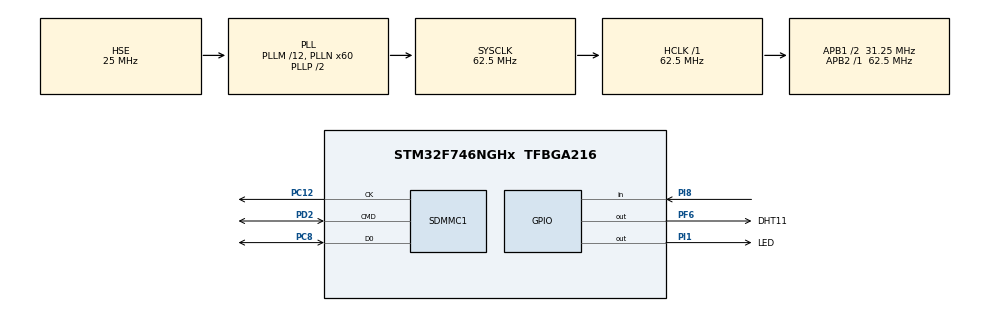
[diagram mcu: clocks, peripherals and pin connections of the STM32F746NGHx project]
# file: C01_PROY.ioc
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FATFS.BSP.number=1
FATFS._FS_EXFAT=1
FATFS._MAX_LFN=15
FATFS._MAX_SS=4096
FATFS._USE_LFN=1
FATFS0.BSP.STBoard=false
FATFS0.BSP.api=Unknown
FATFS0.BSP.i2caddr=0
FATFS0.BSP.instance=PI8
FATFS0.BSP.ip=GPIO
FATFS0.BSP.mode=Input
FATFS0.BSP.name=Detect_SDIO
FATFS0.BSP.solution=PI8
Mcu.Family=STM32F7
Mcu.Name=STM32F746NGHx
Mcu.Package=TFBGA216
NVIC.PriorityGroup=NVIC_PRIORITYGROUP_4
NVIC.RTC_Alarm_IRQn=true\:0\:0\:false\:false\:true\:true\:true
NVIC.SDMMC1_IRQn=true\:0\:0\:false\:false\:true\:true\:true
PC12.Mode=SD_1_bit
PC12.Signal=SDMMC1_CK
PC8.Mode=SD_1_bit
PC8.Signal=SDMMC1_D0
PD2.Mode=SD_1_bit
PD2.Signal=SDMMC1_CMD
PF6.GPIO_Label=DHT11
PF6.Signal=GPIO_Output
PH0/OSC_IN.Mode=HSE-External-Oscillator
PH0/OSC_IN.Signal=RCC_OSC_IN
PH1/OSC_OUT.Mode=HSE-External-Oscillator
PH1/OSC_OUT.Signal=RCC_OSC_OUT
PI1.GPIO_Label=LED
PI1.Signal=GPIO_Output
PI8.Signal=GPIO_Input
ProjectManager.HeapSize=0x200
ProjectManager.StackSize=0x400
ProjectManager.TargetToolchain=STM32CubeIDE
RCC.AHBFreq_Value=62500000
RCC.APB1CLKDivider=RCC_HCLK_DIV2
RCC.APB1Freq_Value=31250000
RCC.APB1TimFreq_Value=62500000
RCC.APB2Freq_Value=62500000
RCC.APB2TimFreq_Value=62500000
RCC.CortexFreq_Value=62500000
RCC.HCLKFreq_Value=62500000
RCC.HSE_VALUE=25000000
RCC.HSI_VALUE=16000000
RCC.LSE_VALUE=32768
RCC.PLLM=12
RCC.PLLN=60
RCC.PLLQ=5
RCC.PLLSourceVirtual=RCC_PLLSOURCE_HSE
RCC.SDMMCClockSelection=RCC_SDMMC1CLKSOURCE_CLK48
RCC.SYSCLKFreq_VALUE=62500000
RCC.SYSCLKSource=RCC_SYSCLKSOURCE_PLLCLK
RCC.USBFreq_Value=25000000
RCC.VCOOutputFreq_Value=125000000
RTC.Alarm-Alarm\ A=RTC_ALARM_A
RTC.AlarmMaskDateWeekDay-Alarm\ A=RTC_ALARMMASK_DATEWEEKDAY
RTC.AlarmMaskHours-Alarm\ A=RTC_ALARMMASK_HOURS
RTC.AlarmMaskMinutes-Alarm\ A=RTC_ALARMMASK_MINUTES
RTC.Format=RTC_FORMAT_BIN
VP_FATFS_VS_SDIO.Mode=SDIO
VP_RTC_VS_RTC_Activate.Mode=RTC_Enabled
VP_RTC_VS_RTC_Alarm_A_Intern.Mode=Alarm A
VP_RTC_VS_RTC_Calendar.Mode=RTC_Calendar
board=STM32F746G-DISCO

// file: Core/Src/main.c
/* USER CODE BEGIN Header */
/**
 ******************************************************************************
 * @file           : main.c
 * @brief          : Main program body
 ******************************************************************************
 * @attention
 *
 * <h2><center>&copy; Copyright (c) 2020 STMicroelectronics.
 * All rights reserved.</center></h2>
 *
 * This software component is licensed by ST under BSD 3-Clause license,
 * the "License"; You may not use this file except in compliance with the
 * License. You may obtain a copy of the License at:
 *                        opensource.org/licenses/BSD-3-Clause
 *
 ******************************************************************************
 */
/* USER CODE END Header */

#include "main.h"
#include "fatfs.h"

/* USER CODE BEGIN Includes */
#include "stdio.h"
/* USER CODE END Includes */

RTC_HandleTypeDef hrtc;

SD_HandleTypeDef hsd1;

void SystemClock_Config(void);
static void MX_GPIO_Init(void);
static void MX_RTC_Init(void);
static void MX_SDMMC1_SD_Init(void);

/* USER CODE BEGIN 0 */

typedef struct {
	uint8_t integralHumidity;
	uint8_t decimalHumidity;
	uint8_t integralTemp;
	uint8_t decimalTemp;
} ClimateEvent;

ClimateEvent climateEvent = { 0 };

RTC_TimeTypeDef time = { 0 };
RTC_DateTypeDef date = { 0 };

FRESULT fRes; /* FatFs function common result code */
FATFS SDFatFS; /* File system object for SD card logical drive */
FIL MyFile; /* File object */
char SDPath[4]; /* SD card logical drive path */
char filename[15]; /* YYYYMMDDHH.CSV */
uint8_t writeBuffer[50];
UINT byteswritten; /* File write counts */

uint8_t persistEvent; /* Flag to indicate that the event should be persisted */

void HAL_RTC_AlarmAEventCallback(RTC_HandleTypeDef *hrtc) {
	HAL_RTC_GetTime(hrtc, &time, RTC_FORMAT_BIN);
	HAL_RTC_GetDate(hrtc, &date, RTC_FORMAT_BIN);

	persistEvent = 1;
}

// DHT11 Code

GPIO_InitTypeDef GPIO_DHT11_InitStruct = { 0 };

void setDHT11Mode(uint32_t mode) {
	GPIO_DHT11_InitStruct.Pin = DHT11_Pin;
	GPIO_DHT11_InitStruct.Mode = mode;
	GPIO_DHT11_InitStruct.Pull = GPIO_NOPULL;
	GPIO_DHT11_InitStruct.Speed = GPIO_SPEED_FREQ_LOW;
	HAL_GPIO_Init(DHT11_GPIO_Port, &GPIO_DHT11_InitStruct);
}

void setDHT11ToOutputMode() {
	setDHT11Mode(GPIO_MODE_OUTPUT_PP);
}

void setDHT11ToInputMode() {
	setDHT11Mode(GPIO_MODE_INPUT);
}

void setDHT11Pin(GPIO_PinState pinState) {
	HAL_GPIO_WritePin(DHT11_GPIO_Port, DHT11_Pin, pinState);
}

GPIO_PinState getDHT11Pin() {
	return HAL_GPIO_ReadPin(DHT11_GPIO_Port, DHT11_Pin);
}

uint32_t waitForDHT11PullUp() {
	uint32_t downCycles = 0;
	if (getDHT11Pin() == 1) {
		while (getDHT11Pin() == 1) { // wait until down first
		}
	}
	while (getDHT11Pin() == 0) { // wait for pull up
		downCycles++;
	}
	return downCycles;
}

uint32_t waitForDHT11PullDown() {
	uint32_t upCycles = 0;
	if (getDHT11Pin() == 0) {
		while (getDHT11Pin() == 0) { // wait until up first
		}
	}
	while (getDHT11Pin() == 1) { // wait for pull down
		upCycles++;
	}
	return upCycles;
}

uint8_t readData(uint32_t thresholdCycles) {
	uint8_t i, j;
	for (j = 0; j < 8; j++) {
		waitForDHT11PullUp();
		uint32_t upCycles = waitForDHT11PullDown();
		if (upCycles > thresholdCycles) {
			i |= (1 << (7 - j));	// bit is 1
		} else {
			i &= ~(1 << (7 - j));  // bit is 0
		}
	}
	return i;
}

uint8_t getClimate() {
	uint8_t integralHumidityData;
	uint8_t decimalHumidityData;
	uint8_t integralTempData;
	uint8_t decimalTempData;
	uint8_t checkSum;

	// initial state for DHT11
	setDHT11ToInputMode();
	HAL_Delay(1000); // to pass unstable status of the DHT11 sensor

	// start communication
	setDHT11ToOutputMode();
	setDHT11Pin(0);
	HAL_Delay(18);
	setDHT11Pin(1);

	// wait for DHT11 response
	setDHT11ToInputMode();
	waitForDHT11PullUp();
	uint32_t upCycles = waitForDHT11PullDown();

	// upCycles of last pull-down is equivalent to 80 microseconds
	// Use this to interpolate data transmission bit responses knowing that:
	//   - bit 0: 26-28 microseconds
	//   - bit 1: 70 microseconds
	//
	uint32_t thresholdCycles = (upCycles / 2) + (10 * upCycles / 80); // ~50 microseconds

	// start sensor data transmission
	integralHumidityData = readData(thresholdCycles);
	decimalHumidityData = readData(thresholdCycles);
	integralTempData = readData(thresholdCycles);
	decimalTempData = readData(thresholdCycles);
	checkSum = readData(thresholdCycles);

	uint8_t dataSum = integralHumidityData + decimalHumidityData
			+ integralTempData + decimalTempData;

	if (checkSum != dataSum) {
		return 0;
	}

	climateEvent.integralTemp = integralTempData;
	climateEvent.decimalTemp = decimalTempData;
	climateEvent.integralHumidity = integralHumidityData;
	climateEvent.decimalHumidity = decimalHumidityData;

	return 1;
}

// microSD code

void writeClimateEventToMicroSD() {
	// See hack in: BSP_PlatformIsDetected
	fRes = f_mount(&SDFatFS, (TCHAR const*) SDPath, 0);
	if (fRes != FR_OK) {
		Error_Handler();
	}

	sprintf(filename, "%04d%02d%02d%02d.CSV", 2000 + date.Year, date.Month,
			date.Date, time.Hours);

	fRes = f_open(&MyFile, filename, FA_OPEN_APPEND | FA_WRITE);
	if (fRes != FR_OK) {
		Error_Handler();
	}

	int length = sprintf((char*) writeBuffer,
			"%04d-%02d-%02dT%02d:%02d:%02d,%d.%d°C,%d.%d%%\n", 2000 + date.Year,
			date.Month, date.Date, time.Hours, time.Minutes, time.Seconds,
			climateEvent.integralTemp, climateEvent.decimalTemp,
			climateEvent.integralHumidity, climateEvent.decimalHumidity);

	f_write(&MyFile, writeBuffer, length, &byteswritten);

	f_close(&MyFile);

	f_mount(0, (TCHAR const*) SDPath, 0);
}

// main event handler

void doPersistClimateEvent() {
	HAL_GPIO_WritePin(LED_GPIO_Port, LED_Pin, 1);
	if (getClimate()) {
		writeClimateEventToMicroSD();
	}
	HAL_GPIO_WritePin(LED_GPIO_Port, LED_Pin, 0);
}

/* USER CODE END 0 */

int main(void) {

	/* MCU Configuration--------------------------------------------------------*/

	/* Reset of all peripherals, Initializes the Flash interface and the Systick. */
	HAL_Init();

	/* Configure the system clock */
	SystemClock_Config();

	/* Initialize all configured peripherals */
	MX_GPIO_Init();
	MX_RTC_Init();
	MX_SDMMC1_SD_Init();
	MX_FATFS_Init();

	/* Infinite loop */
	/* USER CODE BEGIN WHILE */
	while (1) {
		HAL_Delay(1000);

		if (persistEvent == 1) {
			persistEvent = 0;
			doPersistClimateEvent();
		}
		/* USER CODE END WHILE */

	}
}

void SystemClock_Config(void) {
	RCC_OscInitTypeDef RCC_OscInitStruct = { 0 };
	RCC_ClkInitTypeDef RCC_ClkInitStruct = { 0 };
	RCC_PeriphCLKInitTypeDef PeriphClkInitStruct = { 0 };

	/** Configure the main internal regulator output voltage
	 */
	__HAL_RCC_PWR_CLK_ENABLE();
	__HAL_PWR_VOLTAGESCALING_CONFIG(PWR_REGULATOR_VOLTAGE_SCALE3);
	/** Initializes the CPU, AHB and APB busses clocks
	 */
	RCC_OscInitStruct.OscillatorType = RCC_OSCILLATORTYPE_LSI
			| RCC_OSCILLATORTYPE_HSE;
	RCC_OscInitStruct.HSEState = RCC_HSE_ON;
	RCC_OscInitStruct.LSIState = RCC_LSI_ON;
	RCC_OscInitStruct.PLL.PLLState = RCC_PLL_ON;
	RCC_OscInitStruct.PLL.PLLSource = RCC_PLLSOURCE_HSE;
	RCC_OscInitStruct.PLL.PLLM = 12;
	RCC_OscInitStruct.PLL.PLLN = 60;
	RCC_OscInitStruct.PLL.PLLP = RCC_PLLP_DIV2;
	RCC_OscInitStruct.PLL.PLLQ = 5;
	if (HAL_RCC_OscConfig(&RCC_OscInitStruct) != HAL_OK) {
		Error_Handler();
	}
	/** Initializes the CPU, AHB and APB busses clocks
	 */
	RCC_ClkInitStruct.ClockType = RCC_CLOCKTYPE_HCLK | RCC_CLOCKTYPE_SYSCLK
			| RCC_CLOCKTYPE_PCLK1 | RCC_CLOCKTYPE_PCLK2;
	RCC_ClkInitStruct.SYSCLKSource = RCC_SYSCLKSOURCE_PLLCLK;
	RCC_ClkInitStruct.AHBCLKDivider = RCC_SYSCLK_DIV1;
	RCC_ClkInitStruct.APB1CLKDivider = RCC_HCLK_DIV2;
	RCC_ClkInitStruct.APB2CLKDivider = RCC_HCLK_DIV1;

	if (HAL_RCC_ClockConfig(&RCC_ClkInitStruct, FLASH_LATENCY_2) != HAL_OK) {
		Error_Handler();
	}
	PeriphClkInitStruct.PeriphClockSelection = RCC_PERIPHCLK_RTC
			| RCC_PERIPHCLK_SDMMC1 | RCC_PERIPHCLK_CLK48;
	PeriphClkInitStruct.RTCClockSelection = RCC_RTCCLKSOURCE_LSI;
	PeriphClkInitStruct.Clk48ClockSelection = RCC_CLK48SOURCE_PLL;
	PeriphClkInitStruct.Sdmmc1ClockSelection = RCC_SDMMC1CLKSOURCE_CLK48;
	if (HAL_RCCEx_PeriphCLKConfig(&PeriphClkInitStruct) != HAL_OK) {
		Error_Handler();
	}
}

static void MX_RTC_Init(void) {

	RTC_TimeTypeDef sTime = { 0 };
	RTC_DateTypeDef sDate = { 0 };
	RTC_AlarmTypeDef sAlarm = { 0 };

	/** Initialize RTC Only
	 */
	hrtc.Instance = RTC;
	hrtc.Init.HourFormat = RTC_HOURFORMAT_24;
	hrtc.Init.AsynchPrediv = 127;
	hrtc.Init.SynchPrediv = 255;
	if (HAL_RTC_Init(&hrtc) != HAL_OK) {
		Error_Handler();
	}

	/* USER CODE BEGIN Check_RTC_BKUP */

	if (HAL_RTCEx_BKUPRead(&hrtc, RTC_BKP_DR1) == 0x777) {
		// If clock has been already initialized, only set the alarm interrupt
		HAL_RTC_GetAlarm(&hrtc, &sAlarm, RTC_ALARM_A, RTC_FORMAT_BIN);
		if (HAL_RTC_SetAlarm_IT(&hrtc, &sAlarm, RTC_FORMAT_BIN) != HAL_OK) {
			Error_Handler();
		}
		return;
	} else {
		// Store already-initialized status code in a backup register
		HAL_RTCEx_BKUPWrite(&hrtc, RTC_BKP_DR1, 0x777);
	}

	/* USER CODE END Check_RTC_BKUP */

	/** Initialize RTC and set the Time and Date
	 */
	sTime.Hours = 22;
	sTime.Minutes = 24;
	sTime.Seconds = 30;
	sTime.DayLightSaving = RTC_DAYLIGHTSAVING_NONE;
	sTime.StoreOperation = RTC_STOREOPERATION_RESET;
	if (HAL_RTC_SetTime(&hrtc, &sTime, RTC_FORMAT_BIN) != HAL_OK) {
		Error_Handler();
	}
	sDate.WeekDay = RTC_WEEKDAY_SUNDAY;
	sDate.Month = RTC_MONTH_JANUARY;
	sDate.Date = 26;
	sDate.Year = 20;
	if (HAL_RTC_SetDate(&hrtc, &sDate, RTC_FORMAT_BIN) != HAL_OK) {
		Error_Handler();
	}
	/** Enable the Alarm A
	 */
	sAlarm.AlarmTime.Hours = 0;
	sAlarm.AlarmTime.Minutes = 0;
	sAlarm.AlarmTime.Seconds = 0;
	sAlarm.AlarmTime.SubSeconds = 0;
	sAlarm.AlarmTime.DayLightSaving = RTC_DAYLIGHTSAVING_NONE;
	sAlarm.AlarmTime.StoreOperation = RTC_STOREOPERATION_RESET;
	sAlarm.AlarmMask = RTC_ALARMMASK_DATEWEEKDAY | RTC_ALARMMASK_HOURS
			| RTC_ALARMMASK_MINUTES;
	sAlarm.AlarmSubSecondMask = RTC_ALARMSUBSECONDMASK_ALL;
	sAlarm.AlarmDateWeekDaySel = RTC_ALARMDATEWEEKDAYSEL_DATE;
	sAlarm.AlarmDateWeekDay = 1;
	sAlarm.Alarm = RTC_ALARM_A;
	if (HAL_RTC_SetAlarm_IT(&hrtc, &sAlarm, RTC_FORMAT_BIN) != HAL_OK) {
		Error_Handler();
	}

}

static void MX_SDMMC1_SD_Init(void) {

	hsd1.Instance = SDMMC1;
	hsd1.Init.ClockEdge = SDMMC_CLOCK_EDGE_RISING;
	hsd1.Init.ClockBypass = SDMMC_CLOCK_BYPASS_DISABLE;
	hsd1.Init.ClockPowerSave = SDMMC_CLOCK_POWER_SAVE_DISABLE;
	hsd1.Init.BusWide = SDMMC_BUS_WIDE_1B;
	hsd1.Init.HardwareFlowControl = SDMMC_HARDWARE_FLOW_CONTROL_DISABLE;
	hsd1.Init.ClockDiv = 0;

}

static void MX_GPIO_Init(void) {
	GPIO_InitTypeDef GPIO_InitStruct = { 0 };

	/* GPIO Ports Clock Enable */
	__HAL_RCC_GPIOC_CLK_ENABLE();
	__HAL_RCC_GPIOI_CLK_ENABLE();
	__HAL_RCC_GPIOD_CLK_ENABLE();
	__HAL_RCC_GPIOH_CLK_ENABLE();
	__HAL_RCC_GPIOF_CLK_ENABLE();

	/*Configure GPIO pin Output Level */
	HAL_GPIO_WritePin(LED_GPIO_Port, LED_Pin, GPIO_PIN_RESET);

	/*Configure GPIO pin Output Level */
	HAL_GPIO_WritePin(DHT11_GPIO_Port, DHT11_Pin, GPIO_PIN_RESET);

	/*Configure GPIO pin : PI8 */
	GPIO_InitStruct.Pin = GPIO_PIN_8;
	GPIO_InitStruct.Mode = GPIO_MODE_INPUT;
	GPIO_InitStruct.Pull = GPIO_NOPULL;
	HAL_GPIO_Init(GPIOI, &GPIO_InitStruct);

	/*Configure GPIO pin : LED_Pin */
	GPIO_InitStruct.Pin = LED_Pin;
	GPIO_InitStruct.Mode = GPIO_MODE_OUTPUT_PP;
	GPIO_InitStruct.Pull = GPIO_NOPULL;
	GPIO_InitStruct.Speed = GPIO_SPEED_FREQ_LOW;
	HAL_GPIO_Init(LED_GPIO_Port, &GPIO_InitStruct);

	/*Configure GPIO pin : DHT11_Pin */
	GPIO_InitStruct.Pin = DHT11_Pin;
	GPIO_InitStruct.Mode = GPIO_MODE_OUTPUT_PP;
	GPIO_InitStruct.Pull = GPIO_NOPULL;
	GPIO_InitStruct.Speed = GPIO_SPEED_FREQ_LOW;
	HAL_GPIO_Init(DHT11_GPIO_Port, &GPIO_InitStruct);

}

void Error_Handler(void) {
	/* USER CODE BEGIN Error_Handler_Debug */
	/* User can add his own implementation to report the HAL error return state */
	while (1) {
		HAL_GPIO_TogglePin(LED_GPIO_Port, LED_Pin);
		HAL_Delay(500);
	}
	/* USER CODE END Error_Handler_Debug */
}

/************************ (C) COPYRIGHT STMicroelectronics *****END OF FILE****/
